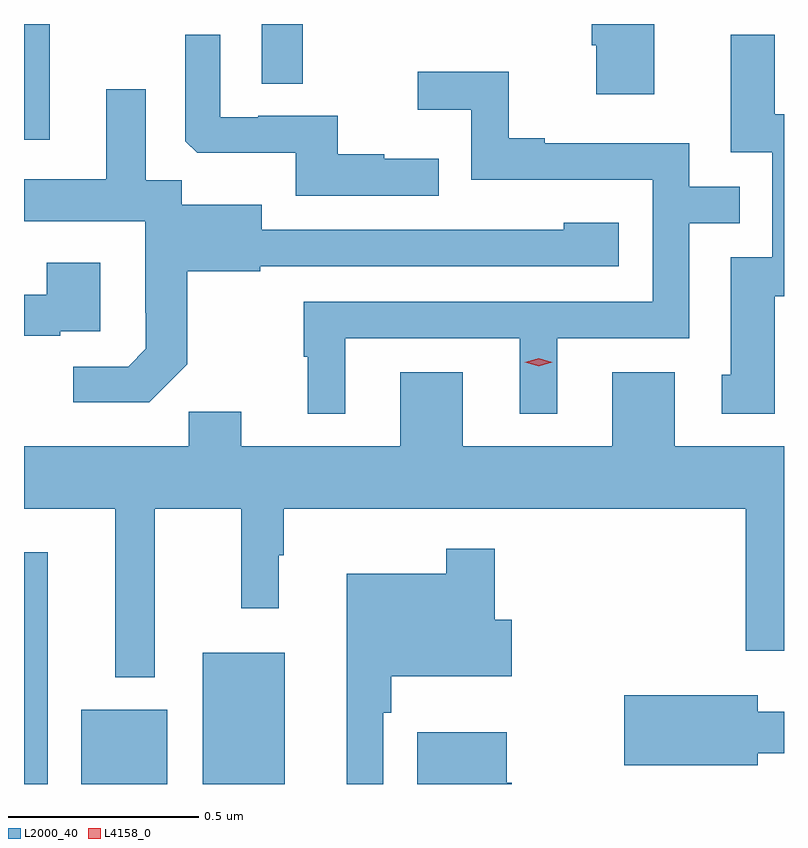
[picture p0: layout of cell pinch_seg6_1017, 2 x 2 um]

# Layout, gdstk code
import gdstk
lib = gdstk.Library(unit=1e-6, precision=1e-09)
def R(c, l, rs):  # rectangles x0, y0, x1, y1
    for r in rs: c.add(gdstk.rectangle(r[:2], r[2:], *l))
def P(c, l, *ps):  # polygons
    for p in ps: c.add(gdstk.Polygon(p, *l))
L2000_40 = (2000, 40)
L4158_0 = (4158, 0)

pinch_seg6_1017 = lib.new_cell('pinch_seg6_1017')
R(pinch_seg6_1017, L2000_40, [(247.025,945.279,247.087,945.889), (247.175,945.279,247.402,945.475), (247.496,945.279,247.711,945.625), (247.025,946.974,247.093,947.279), (247.65,947.122,247.759,947.279)])
P(pinch_seg6_1017, L2000_40, [(248.683,947.279),(248.519,947.279),(248.519,947.223),(248.531,947.223),(248.531,947.094),(248.683,947.094)],
  [(249.001,946.562),(249.025,946.562),(249.025,947.042),(249.001,947.042),(249.001,947.251),(248.885,947.251),(248.885,946.941),(248.994,946.941),(248.994,946.665),(248.885,946.665),(248.885,946.356),(248.861,946.356),(248.861,946.254),(249.001,946.254)],
  [(248.117,946.924),(247.973,946.924),(247.973,946.936),(247.85,946.936),(247.85,947.037),(247.642,947.037),(247.642,947.034),(247.542,947.034),(247.542,947.251),(247.449,947.251),(247.449,946.971),(247.481,946.94),(247.74,946.94),(247.74,946.827),(248.117,946.827)],
  [(247.87,946.452),(248.33,946.452),(248.33,946.253),(248.428,946.253),(248.428,946.452),(248.775,946.452),(248.775,946.755),(248.909,946.755),(248.909,946.851),(248.775,946.851),(248.775,946.965),(248.395,946.965),(248.395,946.978),(248.301,946.978),(248.301,947.153),(248.061,947.153),(248.061,947.054),(248.202,947.054),(248.202,946.869),(248.679,946.869),(248.679,946.548),(247.761,946.548),(247.761,946.404),(247.772,946.404),(247.772,946.253),(247.87,946.253)],
  [(247.455,946.383),(247.455,946.629),(247.647,946.629),(247.647,946.641),(248.59,946.641),(248.59,946.756),(248.445,946.756),(248.445,946.738),(248.209,946.738),(248.209,946.737),(247.651,946.737),(247.651,946.804),(247.44,946.804),(247.44,946.868),(247.345,946.868),(247.345,947.107),(247.241,947.107),(247.241,946.87),(247.025,946.87),(247.025,946.76),(247.344,946.76),(247.344,946.519),(247.346,946.519),(247.346,946.424),(247.299,946.377),(247.155,946.377),(247.155,946.283),(247.355,946.283)],
  [(247.121,946.47),(247.225,946.47),(247.225,946.651),(247.085,946.651),(247.085,946.566),(247.025,946.566),(247.025,946.458),(247.121,946.458)],
  [(247.369,946.004),(247.597,946.004),(247.597,945.741),(247.696,945.741),(247.696,945.881),(247.708,945.881),(247.708,946.004),(248.924,946.004),(248.924,945.63),(249.025,945.63),(249.025,946.168),(248.737,946.168),(248.737,946.363),(248.573,946.363),(248.573,946.168),(248.179,946.168),(248.179,946.363),(248.015,946.363),(248.015,946.168),(247.597,946.168),(247.597,946.259),(247.459,946.259),(247.459,946.168),(247.025,946.168),(247.025,946.004),(247.265,946.004),(247.265,945.56),(247.369,945.56)],
  [(247.971,945.467),(247.991,945.467),(247.991,945.563),(248.308,945.563),(248.308,945.711),(248.264,945.711),(248.264,945.898),(248.136,945.898),(248.136,945.832),(247.874,945.832),(247.874,945.279),(247.971,945.279)],
  [(248.956,945.36),(249.025,945.36),(249.025,945.469),(248.956,945.469),(248.956,945.512),(248.604,945.512),(248.604,945.329),(248.956,945.329)],
  [(248.309,945.282),(248.296,945.282),(248.296,945.415),(248.06,945.415),(248.06,945.279),(248.309,945.279)])
P(pinch_seg6_1017, L4158_0, [(248.379,946.379),(248.343,946.389),(248.343,946.389),(248.343,946.389),(248.379,946.399),(248.415,946.389),(248.415,946.389),(248.415,946.389)])

lib.write_gds('pinch_seg6_1017.gds')
